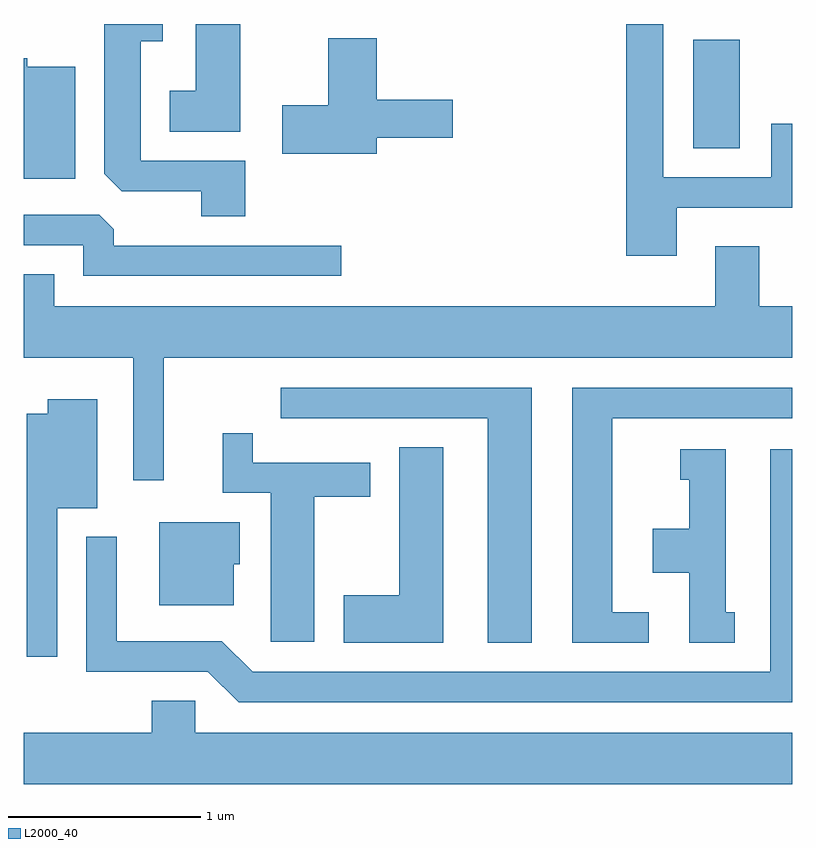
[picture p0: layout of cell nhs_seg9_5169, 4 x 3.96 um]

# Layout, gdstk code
import gdstk
lib = gdstk.Library(unit=1e-6, precision=1e-09)
def R(c, l, rs):  # rectangles x0, y0, x1, y1
    for r in rs: c.add(gdstk.rectangle(r[:2], r[2:], *l))
def P(c, l, *ps):  # polygons
    for p in ps: c.add(gdstk.Polygon(p, *l))
L2000_40 = (2000, 40)

nhs_seg9_5169 = lib.new_cell('nhs_seg9_5169')
R(nhs_seg9_5169, L2000_40, [(341.096,2001.786,341.339,2002.349)])
P(nhs_seg9_5169, L2000_40, [(338.764,2001.719),(338.219,2001.719),(338.219,2002.341),(338.334,2002.341),(338.334,2002.432),(338.031,2002.432),(338.031,2001.652),(338.122,2001.561),(338.536,2001.561),(338.536,2001.431),(338.764,2001.431)],
  [(338.739,2002.432),(338.506,2002.432),(338.506,2002.084),(338.371,2002.084),(338.371,2001.871),(338.739,2001.871)],
  [(341.009,2001.476),(341.611,2001.476),(341.611,2001.913),(341.501,2001.913),(341.501,2001.634),(340.939,2001.634),(340.939,2002.432),(340.746,2002.432),(340.746,2001.226),(341.009,2001.226)],
  [(339.449,2001.841),(339.844,2001.841),(339.844,2002.039),(339.449,2002.039),(339.449,2002.359),(339.196,2002.359),(339.196,2002.009),(338.956,2002.009),(338.956,2001.756),(339.449,2001.756)],
  [(337.879,2002.209),(337.629,2002.209),(337.629,2002.254),(337.611,2002.254),(337.611,2001.626),(337.879,2001.626)],
  [(339.263,2001.279),(338.079,2001.279),(338.079,2001.364),(338.004,2001.439),(337.611,2001.439),(337.611,2001.281),(337.921,2001.281),(337.921,2001.121),(339.263,2001.121)],
  [(338.339,2000.696),(341.611,2000.696),(341.611,2000.964),(341.439,2000.964),(341.439,2001.274),(341.211,2001.274),(341.211,2000.964),(337.769,2000.964),(337.769,2001.129),(337.611,2001.129),(337.611,2000.696),(338.181,2000.696),(338.181,2000.058),(338.339,2000.058)],
  [(340.863,1999.369),(340.674,1999.369),(340.674,2000.381),(341.611,2000.381),(341.611,2000.539),(340.466,2000.539),(340.466,1999.211),(340.863,1999.211)],
  [(340.254,2000.539),(338.948,2000.539),(338.948,2000.381),(340.026,2000.381),(340.026,1999.211),(340.254,1999.211)],
  [(337.784,1999.911),(337.994,1999.911),(337.994,2000.479),(337.736,2000.479),(337.736,2000.404),(337.626,2000.404),(337.626,1999.138),(337.784,1999.138)],
  [(339.124,1999.971),(339.414,1999.971),(339.414,2000.149),(338.804,2000.149),(338.804,2000.303),(338.646,2000.303),(338.646,1999.991),(338.896,1999.991),(338.896,1999.216),(339.124,1999.216)],
  [(339.794,2000.229),(339.566,2000.229),(339.566,1999.459),(339.276,1999.459),(339.276,1999.211),(339.794,1999.211)],
  [(341.313,1999.369),(341.264,1999.369),(341.264,2000.219),(341.028,2000.219),(341.028,2000.061),(341.076,2000.061),(341.076,1999.804),(340.886,1999.804),(340.886,1999.576),(341.076,1999.576),(341.076,1999.211),(341.313,1999.211)],
  [(341.611,2000.219),(341.496,2000.219),(341.496,1999.059),(338.802,1999.059),(338.642,1999.219),(338.094,1999.219),(338.094,1999.763),(337.936,1999.763),(337.936,1999.061),(338.569,1999.061),(338.729,1998.901),(341.611,1998.901)],
  [(338.704,1999.621),(338.734,1999.621),(338.734,1999.839),(338.316,1999.839),(338.316,1999.406),(338.704,1999.406)],
  [(341.611,1998.744),(338.504,1998.744),(338.504,1998.909),(338.276,1998.909),(338.276,1998.744),(337.611,1998.744),(337.611,1998.476),(341.611,1998.476)])

lib.write_gds('nhs_seg9_5169.gds')
